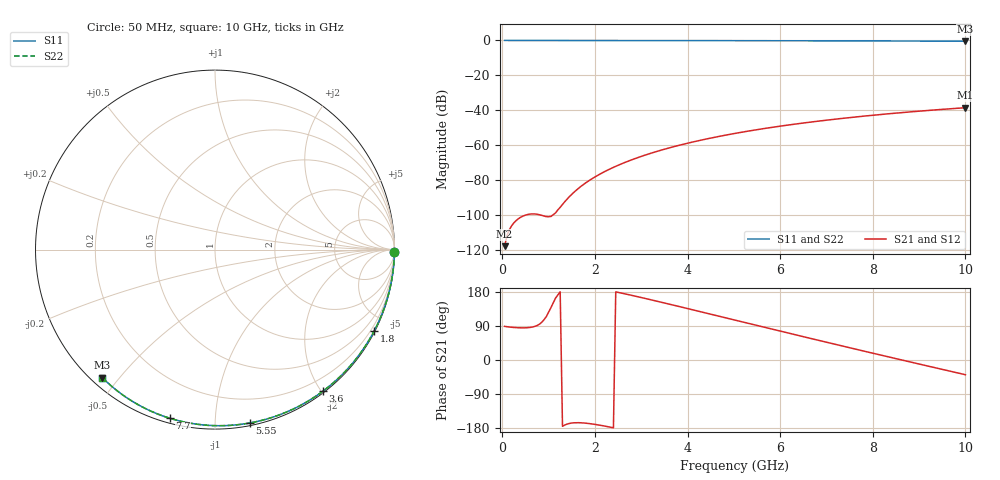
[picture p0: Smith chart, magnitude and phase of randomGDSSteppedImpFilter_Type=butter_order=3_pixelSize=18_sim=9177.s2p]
! freq	dB(S11)	phase(S11)	dB(S12)	phase(S12)
!  dB(S21)	phase(S21)	dB(S22)	phase(S22)
!S-par simulation data
#  GHz  S  DB  R 50
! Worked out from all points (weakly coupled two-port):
!   200 points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, 50 MHz to 10 GHz, reference 50 ohm
!   highest |S21| = -38.51 dB at 10 GHz (marker M1); lowest = -117.8 dB at 50 MHz (marker M2)
!   lowest |S11| = -0.4 dB at 10 GHz (marker M3), VSWR 39.16, Z = 1.54 - j22.6 ohm
!   |S11| at or under -10 dB: nowhere
!   |S22| runs from -0.4 to 0.0 dB; largest |S21 - S12| = 0
!   S11 on the Smith chart (normalised r, x): 50 MHz: open; 1.8 GHz: 0.04, -4.18; 3.6 GHz: 0.02, -2.02; 5.55 GHz: 0.02, -1.22; 7.7 GHz: 0.02, -0.77; 10 GHz: 0.03, -0.45
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0.05  -0.00 -0.8  -117.80 88.8  -117.80 88.8  -0.00 -0.8
0.45  -0.01 -6.8  -100.52 84.8  -100.52 84.8  -0.01 -6.8
0.9  -0.02 -13.6  -100.56 106.2  -100.56 106.2  -0.02 -13.6
1.75  -0.03 -26.2  -82.53 -166.1  -82.53 -166.1  -0.03 -26.2
1.8  -0.03 -26.9  -81.57 -166.7  -81.57 -166.7  -0.03 -26.9
1.9  -0.04 -28.4  -79.80 -168.1  -79.80 -168.1  -0.04 -28.4
2.05  -0.04 -30.6  -77.39 -170.9  -77.39 -170.9  -0.04 -30.6
2.25  -0.04 -33.5  -74.56 -175.3  -74.56 -175.3  -0.04 -33.5
2.45  -0.05 -36.4  -72.06 179.8  -72.06 179.8  -0.05 -36.4
2.65  -0.05 -39.2  -69.82 174.6  -69.82 174.6  -0.05 -39.2
3  -0.06 -44.2  -66.39 164.9  -66.39 164.9  -0.06 -44.2
3.4  -0.07 -49.8  -63.04 153.4  -63.04 153.4  -0.07 -49.8
3.6  -0.07 -52.6  -61.55 147.6  -61.55 147.6  -0.07 -52.6
4.3  -0.09 -62.2  -57.03 126.9  -57.03 126.9  -0.09 -62.2
5.05  -0.11 -72.1  -53.10 104.5  -53.10 104.5  -0.11 -72.1
5.55  -0.13 -78.6  -50.87 89.7  -50.87 89.7  -0.13 -78.6
6.1  -0.15 -85.6  -48.70 73.3  -48.70 73.3  -0.15 -85.6
6.7  -0.18 -93.0  -46.60 55.7  -46.60 55.7  -0.18 -93.0
7.7  -0.24 -105.0  -43.62 26.6  -43.62 26.6  -0.24 -105.0
8.35  -0.29 -112.6  -41.96 7.9  -41.96 7.9  -0.29 -112.6
9.15  -0.36 -121.7  -40.17 -14.9  -40.17 -14.9  -0.36 -121.7
10  -0.44 -131.4  -38.51 -38.8  -38.51 -38.8  -0.44 -131.4
